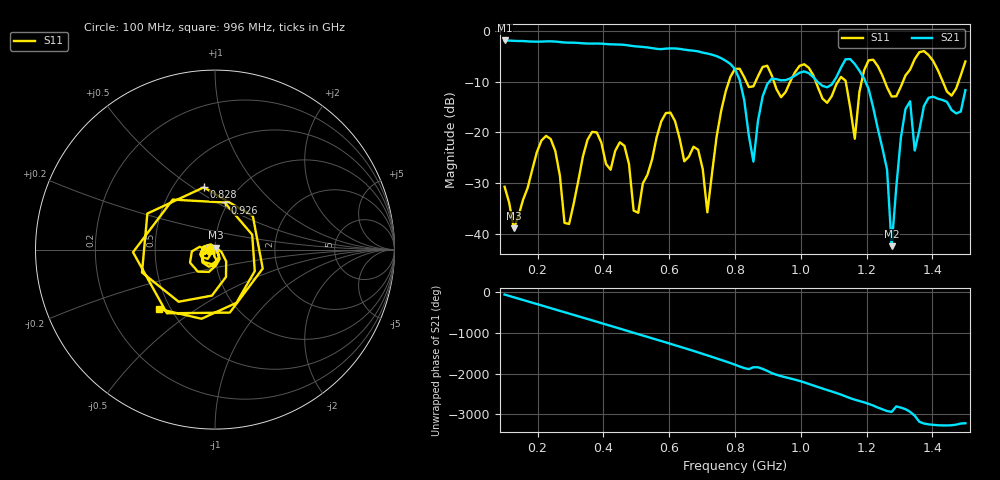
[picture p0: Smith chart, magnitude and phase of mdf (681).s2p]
! NanoVNA-App
! Date: 2025-09-25 15:43:43
! Start: 100MHz Stop: 1,5GHz Points: 101
! S-Parameter data: F S11 S21 S12 S22
# Hz S RI R 50
!  Frequency  S11_Real  S11_Imag  S21_Real  S21_Imag  S12_Real  S12_Imag  S22_Real  S22_Imag
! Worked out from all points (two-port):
!   101 points, 100 MHz to 1.5 GHz, reference 50 ohm
!   highest |S21| = -1.80 dB at 100 MHz (marker M1); lowest = -42.5 dB at 1.276 GHz (marker M2)
!   |S21| within 3 dB of the highest: start of sweep to 739.3 MHz
!   lowest |S11| = -39.0 dB at 128 MHz (marker M3), VSWR 1.02, Z = 50.3 + j1.08 ohm
!   |S11| at or under -10 dB: start of sweep to 781.1 MHz; 1.046 GHz to 1.113 GHz (66.91 MHz wide, 6.2 % of centre); 1.255 GHz to 1.31 GHz (54.45 MHz wide, 4.24 % of centre) (the widest 3 of 7)
!   S12 and S22 are empty: the file has one direction only
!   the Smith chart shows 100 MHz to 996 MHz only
!   S11 on the Smith chart (normalised r, x): 100 MHz: 0.94, -0.01; 828 MHz: 0.70, +0.56; 926 MHz: 0.96, +0.54; 996 MHz: 0.43, -0.36
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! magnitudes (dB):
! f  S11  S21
! 100 MHz  -30.7  -1.8
! 128 MHz  -39.0  -1.9
! 212 MHz  -21.6  -2.0
! 282 MHz  -37.9  -2.2
! 338 MHz  -24.7  -2.4
! 464 MHz  -22.6  -2.7
! 506 MHz  -35.9  -3.0
! 576 MHz  -17.8  -3.5
! 688 MHz  -23.4  -4.0
! 716 MHz  -35.8  -4.4
! 800 MHz  -7.4  -7.5
! 828 MHz  -9.1  -13.6
! 856 MHz  -10.9  -25.8
! 926 MHz  -11.4  -9.5
! 996 MHz  -6.8  -8.2
! 1.038 GHz  -8.7  -9.1
! 1.164 GHz  -21.2  -6.5
! 1.192 GHz  -7.7  -9.3
! 1.262 GHz  -11.1  -27.3
! 1.276 GHz  -12.9  -42.5
! 1.318 GHz  -8.7  -15.4
! 1.5 GHz  -6.0  -11.6
